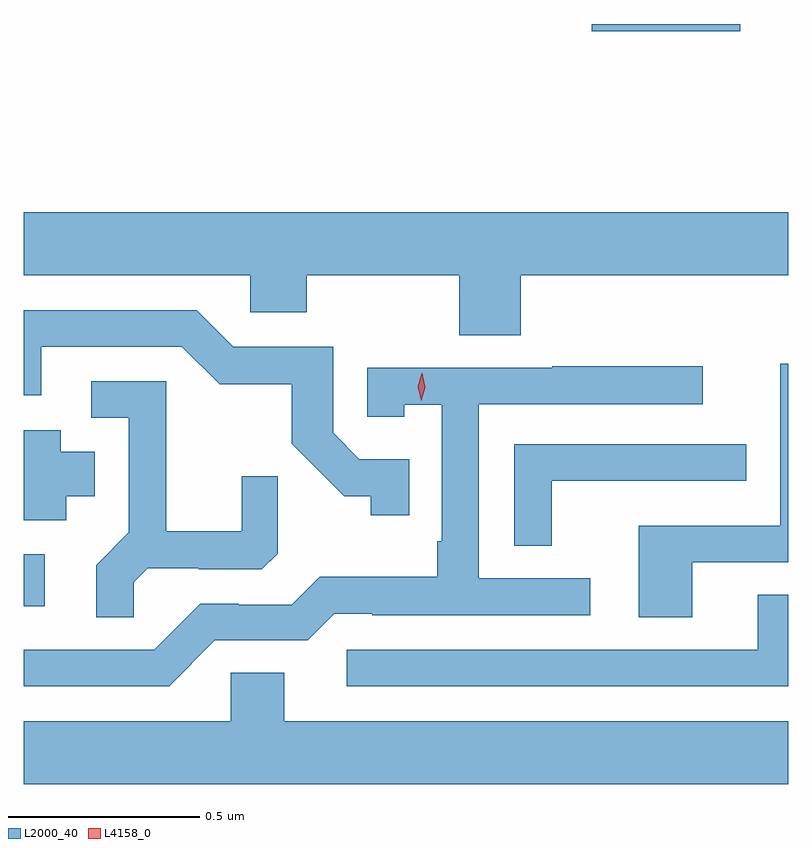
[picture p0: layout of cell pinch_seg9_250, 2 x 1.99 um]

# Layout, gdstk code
import gdstk
lib = gdstk.Library(unit=1e-6, precision=1e-09)
def R(c, l, rs):  # rectangles x0, y0, x1, y1
    for r in rs: c.add(gdstk.rectangle(r[:2], r[2:], *l))
def P(c, l, *ps):  # polygons
    for p in ps: c.add(gdstk.Polygon(p, *l))
L2000_40 = (2000, 40)
L4158_0 = (4158, 0)

pinch_seg9_250 = lib.new_cell('pinch_seg9_250')
R(pinch_seg9_250, L2000_40, [(398.956,1215.533,399.01,1215.669), (400.442,1217.038,400.831,1217.057)])
P(pinch_seg9_250, L2000_40, [(398.956,1216.4),(399.549,1216.4),(399.549,1216.302),(399.696,1216.302),(399.696,1216.4),(400.096,1216.4),(400.096,1216.243),(400.256,1216.243),(400.256,1216.4),(400.956,1216.4),(400.956,1216.564),(398.956,1216.564)],
  [(399.965,1215.918),(399.834,1215.918),(399.765,1215.987),(399.765,1216.212),(399.504,1216.212),(399.408,1216.308),(398.956,1216.308),(398.956,1216.086),(399.001,1216.086),(399.001,1216.212),(399.369,1216.212),(399.468,1216.114),(399.657,1216.114),(399.657,1215.958),(399.794,1215.821),(399.864,1215.821),(399.864,1215.771),(399.965,1215.771)],
  [(400.705,1215.648),(400.956,1215.648),(400.956,1216.168),(400.935,1216.168),(400.935,1215.744),(400.565,1215.744),(400.565,1215.505),(400.705,1215.505)],
  [(399.456,1215.444),(399.699,1215.444),(399.768,1215.513),(399.868,1215.513),(399.868,1215.51),(400.438,1215.51),(400.438,1215.606),(400.146,1215.606),(400.146,1216.062),(400.732,1216.062),(400.732,1216.161),(400.339,1216.161),(400.339,1216.158),(399.855,1216.158),(399.855,1216.029),(399.951,1216.029),(399.951,1216.061),(400.05,1216.061),(400.05,1215.703),(400.038,1215.703),(400.038,1215.61),(399.73,1215.61),(399.657,1215.537),(399.518,1215.537),(399.518,1215.54),(399.417,1215.54),(399.297,1215.42),(398.956,1215.42),(398.956,1215.324),(399.336,1215.324)],
  [(399.243,1215.596),(399.28,1215.633),(399.414,1215.633),(399.414,1215.63),(399.579,1215.63),(399.62,1215.671),(399.62,1215.873),(399.526,1215.873),(399.526,1215.73),(399.329,1215.73),(399.329,1216.122),(399.132,1216.122),(399.132,1216.026),(399.231,1216.026),(399.231,1215.727),(399.145,1215.641),(399.145,1215.505),(399.243,1215.505)],
  [(399.067,1215.821),(399.142,1215.821),(399.142,1215.937),(399.052,1215.937),(399.052,1215.994),(398.956,1215.994),(398.956,1215.758),(399.067,1215.758)],
  [(400.338,1215.861),(400.733,1215.861),(400.733,1215.862),(400.846,1215.862),(400.846,1215.957),(400.239,1215.957),(400.239,1215.691),(400.338,1215.691)],
  [(400.956,1215.563),(400.877,1215.563),(400.877,1215.42),(399.801,1215.42),(399.801,1215.324),(400.956,1215.324)],
  [(400.956,1215.232),(399.637,1215.232),(399.637,1215.359),(399.498,1215.359),(399.498,1215.232),(398.956,1215.232),(398.956,1215.068),(400.956,1215.068)])
P(pinch_seg9_250, L4158_0, [(399.996,1216.071),(399.996,1216.071),(399.987,1216.107),(399.997,1216.143),(399.997,1216.143),(399.998,1216.143),(400.007,1216.106),(399.996,1216.071)])

lib.write_gds('pinch_seg9_250.gds')
